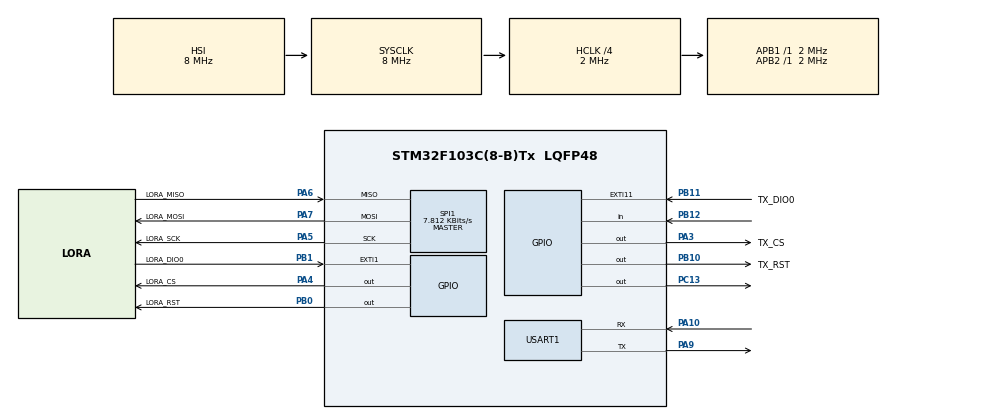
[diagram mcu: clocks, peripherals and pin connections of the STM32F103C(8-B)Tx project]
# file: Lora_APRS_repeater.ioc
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ADC1.Channel-1\#ChannelRegularConversion=ADC_CHANNEL_VREFINT
ADC1.EnableAnalogWatchDog=false
ADC1.NbrOfConversion=1
ADC1.NbrOfConversionFlag=1
ADC1.Rank-1\#ChannelRegularConversion=1
ADC1.SamplingTime-1\#ChannelRegularConversion=ADC_SAMPLETIME_239CYCLES_5
ADC1.master=1
IWDG.Prescaler=IWDG_PRESCALER_64
IWDG.Reload=2500
Mcu.Family=STM32F1
Mcu.Name=STM32F103C(8-B)Tx
Mcu.Package=LQFP48
NVIC.EXTI1_IRQn=true\:5\:0\:true\:false\:true\:true\:true\:true
NVIC.EXTI15_10_IRQn=true\:5\:0\:true\:false\:true\:true\:true\:true
NVIC.PriorityGroup=NVIC_PRIORITYGROUP_4
PA10.Mode=Asynchronous
PA10.Signal=USART1_RX
PA3.GPIO_Label=TX_CS
PA3.GPIO_Speed=GPIO_SPEED_FREQ_HIGH
PA3.PinState=GPIO_PIN_SET
PA3.Signal=GPIO_Output
PA4.GPIO_Label=LORA_CS
PA4.GPIO_PuPd=GPIO_NOPULL
PA4.GPIO_Speed=GPIO_SPEED_FREQ_HIGH
PA4.PinState=GPIO_PIN_SET
PA4.Signal=GPIO_Output
PA5.GPIO_Label=LORA_SCK
PA5.Mode=Full_Duplex_Master
PA5.Signal=SPI1_SCK
PA6.GPIO_Label=LORA_MISO
PA6.Mode=Full_Duplex_Master
PA6.Signal=SPI1_MISO
PA7.GPIO_Label=LORA_MOSI
PA7.Mode=Full_Duplex_Master
PA7.Signal=SPI1_MOSI
PA9.Mode=Asynchronous
PA9.Signal=USART1_TX
PB0.GPIO_Label=LORA_RST
PB0.PinState=GPIO_PIN_SET
PB0.Signal=GPIO_Output
PB1.GPIO_Label=LORA_DIO0
PB1.GPIO_ModeDefaultEXTI=GPIO_MODE_IT_RISING
PB1.Signal=GPXTI1
PB10.GPIO_Label=TX_RST
PB10.PinState=GPIO_PIN_SET
PB10.Signal=GPIO_Output
PB11.GPIO_Label=TX_DIO0
PB11.Signal=GPXTI11
PB12.GPIO_PuPd=GPIO_PULLUP
PB12.Signal=GPIO_Input
PC13-TAMPER-RTC.Signal=GPIO_Output
ProjectManager.HeapSize=0x200
ProjectManager.StackSize=0x400
ProjectManager.TargetToolchain=STM32CubeIDE
RCC.AHBCLKDivider=RCC_SYSCLK_DIV4
RCC.AHBFreq_Value=2000000
RCC.APB1Freq_Value=2000000
RCC.APB1TimFreq_Value=2000000
RCC.APB2Freq_Value=2000000
RCC.APB2TimFreq_Value=2000000
RCC.HCLKFreq_Value=2000000
RCC.SYSCLKFreq_VALUE=8000000
RCC.USBFreq_Value=8000000
RTC.Format=RTC_FORMAT_BIN
RTC.OutPut=RTC_OUTPUTSOURCE_NONE
SPI1.BaudRatePrescaler=SPI_BAUDRATEPRESCALER_256
SPI1.CalculateBaudRate=7.812 KBits/s
SPI1.Direction=SPI_DIRECTION_2LINES
SPI1.Mode=SPI_MODE_MASTER
SPI1.VirtualType=VM_MASTER
USART1.VirtualMode=VM_ASYNC
VP_ADC1_Vref_Input.Mode=IN-Vrefint
VP_IWDG_VS_IWDG.Mode=IWDG_Activate
VP_RTC_No_RTC_Output.Mode=RTC_OUT_NO
VP_RTC_VS_RTC_Activate.Mode=RTC_Enabled
VP_SYS_VS_ND.Mode=No_Debug
board=custom

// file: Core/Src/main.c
/* USER CODE BEGIN Header */
/**
  ******************************************************************************
  * @file           : main.c
  * @brief          : Main program body
  ******************************************************************************
  * @attention
  *
  * Copyright (c) 2026 STMicroelectronics.
  * All rights reserved.
  *
  * This software is licensed under terms that can be found in the LICENSE file
  * in the root directory of this software component.
  * If no LICENSE file comes with this software, it is provided AS-IS.
  *
  ******************************************************************************
  */
/* USER CODE END Header */
#include "main.h"

/* USER CODE BEGIN Includes */
#include <stdio.h>
#include <string.h>
#include <stdarg.h>
#include <stdint.h>
/* USER CODE END Includes */

ADC_HandleTypeDef hadc1;

IWDG_HandleTypeDef hiwdg;

RTC_HandleTypeDef hrtc;

SPI_HandleTypeDef hspi1;

UART_HandleTypeDef huart1;

/* USER CODE BEGIN PV */
// --- Hardware configuration ---
// RX Module (RFM96) - SPI1
#define RX_CS_PORT    GPIOA
#define RX_CS_PIN     GPIO_PIN_4
#define RX_RST_PORT   GPIOB
#define RX_RST_PIN    GPIO_PIN_0

// TX Module (RFM96) - SPI1
#define TX_CS_PORT    GPIOA
#define TX_CS_PIN     GPIO_PIN_3
#define TX_RST_PORT   GPIOB
#define TX_RST_PIN    GPIO_PIN_10

// Debug & LED
#define DEBUG_PIN_PORT GPIOB
#define DEBUG_PIN      GPIO_PIN_12
#define LED_PORT       GPIOC
#define LED_PIN        GPIO_PIN_13

// --- LORA Parameters---
#define LORA_RX_FREQ    434855000
#define LORA_TX_FREQ    434955000

#define LORA_RX_SF      9
#define LORA_RX_BW_IDX  7         		// 125 kHz (7 = 125 kHz)
#define LORA_RX_CR      3         		// 4/7
#define LORA_RX_POWER   17        		// Full power (17 dBm)
//#define LORA_RX_POWER   20       		// +20 dBm (100 mW) - High Power PA_DAC

#define LORA_TX_SF      9
#define LORA_TX_BW_IDX  7         		// 125 kHz (7 = 125 kHz)
#define LORA_TX_CR      3         		// 4/7
#define LORA_TX_POWER   10        		// ~50% of power (~10 dBm)

#define TELEMETRY_INTERVAL 3600000 		// 1h
#define APRS_CALLSIGN   "SP7FM-1"
#define APRS_COORDS     "!5144.22N/01934.44E"

// --- SYSTEM ---
#define QUEUE_SIZE 5
#define MAX_PKT_LEN 256

typedef struct {
    uint8_t data[MAX_PKT_LEN];
    uint8_t len;
    uint8_t tx_counter;
} LoRaPacket;

uint16_t tx_reset_counter = 0;
uint32_t lastRebootTick = 0; 	// last restart/start time
uint8_t reset_time = 6;     	// how often reboot, in h

LoRaPacket txQueue[QUEUE_SIZE];
uint8_t queueHead = 0;
uint8_t queueTail = 0;

uint32_t lastTelemetryTime = 0;
volatile uint8_t packetReceivedFlag = 0;
volatile uint8_t txPacketReceivedFlag = 0;

typedef struct {
    GPIO_TypeDef* CS_Port;
    uint16_t      CS_Pin;
    GPIO_TypeDef* RST_Port;
    uint16_t      RST_Pin;
    uint32_t      Frequency;
    uint8_t       SpreadingFactor;
    uint8_t       BandwidthIdx;
    uint8_t       CodingRate;
    uint8_t       Power;
} LoRa_Module;

LoRa_Module loraRX = { RX_CS_PORT, RX_CS_PIN, RX_RST_PORT, RX_RST_PIN, LORA_RX_FREQ, LORA_RX_SF, LORA_RX_BW_IDX, LORA_RX_CR, LORA_RX_POWER };
LoRa_Module loraTX = { TX_CS_PORT, TX_CS_PIN, TX_RST_PORT, TX_RST_PIN, LORA_TX_FREQ, LORA_TX_SF, LORA_TX_BW_IDX, LORA_TX_CR, LORA_TX_POWER };

/* USER CODE END PV */

void SystemClock_Config(void);
static void MX_GPIO_Init(void);
static void MX_SPI1_Init(void);
static void MX_USART1_UART_Init(void);
static void MX_ADC1_Init(void);
static void MX_IWDG_Init(void);
static void MX_RTC_Init(void);
/* USER CODE BEGIN PFP */
void LoRa_Init(LoRa_Module* mod);
void LoRa_SetMode(LoRa_Module* mod, uint8_t mode);
uint8_t LoRa_Send(LoRa_Module* mod, uint8_t* data, uint8_t len);
uint8_t LoRa_Receive(LoRa_Module* mod, uint8_t* buffer);
void Queue_Push(uint8_t* data, uint8_t len, uint8_t tx_counter);
int Queue_Pop(uint8_t* buffer, uint8_t* out_tx_counter);
void SendTelemetry(void);
void DebugPrint(const char *format, ...);
float GetInternalVoltage(void);
/* USER CODE END PFP */

/* USER CODE BEGIN 0 */

// SX1278 registry
#define REG_FIFO 0x00
#define REG_OP_MODE 0x01
#define REG_FRF_MSB 0x06
#define REG_FRF_MID 0x07
#define REG_FRF_LSB 0x08
#define REG_PA_CONFIG 0x09
#define REG_LNA 0x0C
#define REG_FIFO_ADDR_PTR 0x0D
#define REG_FIFO_TX_BASE_ADDR 0x0E
#define REG_FIFO_RX_BASE_ADDR 0x0F
#define REG_FIFO_RX_CURRENT_ADDR 0x10
#define REG_IRQ_FLAGS 0x12
#define REG_RX_NB_BYTES 0x13
#define REG_MODEM_CONFIG_1 0x1D
#define REG_MODEM_CONFIG_2 0x1E
#define REG_DIO_MAPPING_1 0x40

// Operating mode
#define MODE_LONG_RANGE_MODE 0x80
#define MODE_SLEEP 0x00
#define MODE_STDBY 0x01
#define MODE_TX 0x03
#define MODE_RX_CONTINUOUS 0x05

uint8_t LoRa_ReadReg(LoRa_Module* mod, uint8_t addr) {
    uint8_t txByte = addr & 0x7F;
    uint8_t rxByte = 0;
    HAL_GPIO_WritePin(mod->CS_Port, mod->CS_Pin, GPIO_PIN_RESET);
    HAL_SPI_Transmit(&hspi1, &txByte, 1, 100);
    HAL_SPI_Receive(&hspi1, &rxByte, 1, 100);
    HAL_GPIO_WritePin(mod->CS_Port, mod->CS_Pin, GPIO_PIN_SET);
    return rxByte;
}

void LoRa_WriteReg(LoRa_Module* mod, uint8_t addr, uint8_t val) {
    uint8_t data[2] = { addr | 0x80, val };
    HAL_GPIO_WritePin(mod->CS_Port, mod->CS_Pin, GPIO_PIN_RESET);
    HAL_SPI_Transmit(&hspi1, data, 2, 100);
    HAL_GPIO_WritePin(mod->CS_Port, mod->CS_Pin, GPIO_PIN_SET);
}

void LoRa_Init(LoRa_Module* mod) {
    // 0. Check if CS is high before start
    HAL_GPIO_WritePin(mod->CS_Port, mod->CS_Pin, GPIO_PIN_SET);

    // 1. Hardware Reset
    HAL_GPIO_WritePin(mod->RST_Port, mod->RST_Pin, GPIO_PIN_RESET);
    HAL_Delay(15);
    HAL_GPIO_WritePin(mod->RST_Port, mod->RST_Pin, GPIO_PIN_SET);
    HAL_Delay(15);

    // 2. Sleep mode, enable LongRangeMode registry
    LoRa_SetMode(mod, MODE_SLEEP);
    LoRa_WriteReg(mod, REG_OP_MODE, MODE_LONG_RANGE_MODE | MODE_SLEEP);
    HAL_Delay(5);

    // 3. frequency configuration (FRF)
    uint64_t frf = ((uint64_t)mod->Frequency << 19) / 32000000;
    LoRa_WriteReg(mod, REG_FRF_MSB, (uint8_t)(frf >> 16));
    LoRa_WriteReg(mod, REG_FRF_MID, (uint8_t)(frf >> 8));
    LoRa_WriteReg(mod, REG_FRF_LSB, (uint8_t)(frf >> 0));

    // 4. Modem config (BW, CR, SF)
    uint8_t config1 = (mod->BandwidthIdx << 4) | (mod->CodingRate << 1);
    LoRa_WriteReg(mod, REG_MODEM_CONFIG_1, config1);

    // SF, CRC ON (0x04)
    LoRa_WriteReg(mod, REG_MODEM_CONFIG_2, (mod->SpreadingFactor << 4) | 0x04);

    // 5.Power and gain config (LNA)
    // Set LNA Gain (Max gain, Boost on) and PA_CONFIG i OCP for both modules,
    // to enable 2-way communication (RX and TX).
    LoRa_WriteReg(mod, REG_LNA, 0x23);
    if (mod->Power >= 20) {
        // High Power +20 dBm (100 mW)
        LoRa_WriteReg(mod, 0x0B, 0x3B);          // OCP set to 150 mA (wymagane przy +20 dBm)
        LoRa_WriteReg(mod, 0x4D, 0x87);          // RegPaDac: Enable +20 dBm mode
        LoRa_WriteReg(mod, REG_PA_CONFIG, 0x8F); // PA_BOOST pin, max output power (15 + 5 dBm = 20 dBm)
    } else {
        // Standard mode (+2 dBm to +17 dBm)
        LoRa_WriteReg(mod, 0x0B, 0x2B);          // OCP set to 100 mA
        LoRa_WriteReg(mod, 0x4D, 0x84);          // RegPaDac: Normal/Default mode

        uint8_t paPower = (mod->Power < 2) ? 0 : (mod->Power - 2);
        LoRa_WriteReg(mod, REG_PA_CONFIG, 0x80 | paPower);
    }

    // 6. FIFO config
    LoRa_WriteReg(mod, REG_FIFO_TX_BASE_ADDR, 0);
    LoRa_WriteReg(mod, REG_FIFO_RX_BASE_ADDR, 0);

    // 7. Standby mode
    LoRa_SetMode(mod, MODE_STDBY);
    HAL_Delay(5);

    uint8_t ver = LoRa_ReadReg(mod, 0x42);
    DebugPrint("LORA: Init CS Pin %d (Ver: 0x%02X)\r\n", mod->CS_Pin, ver);
}

void LoRa_SetMode(LoRa_Module* mod, uint8_t mode) {
    LoRa_WriteReg(mod, REG_OP_MODE, MODE_LONG_RANGE_MODE | mode);
}

uint8_t LoRa_Send(LoRa_Module* mod, uint8_t* data, uint8_t len) {
    // 1. Wake radio from SLEEP to STDBY
    LoRa_SetMode(mod, MODE_STDBY);

    // !!! IMPORTANT: We allow time for the oscillator to stabilize (Warm-up).
    // Without this, writing to the FIFO may fail immediately after waking up.
    HAL_Delay(2);

    // 2. fill the buffer
    LoRa_WriteReg(mod, REG_FIFO_ADDR_PTR, 0);
    for(int i=0; i<len; i++) {
        LoRa_WriteReg(mod, REG_FIFO, data[i]);
    }

    // 3. start transmitting
    LoRa_WriteReg(mod, 0x22, len);
    LoRa_SetMode(mod, MODE_TX);

    // 4. Wait for TX finish
    uint32_t start = HAL_GetTick();
    uint8_t tx_success = 0;

    while(HAL_GetTick() - start < 2000) { // Timeout 2 sec.
    	if(LoRa_ReadReg(mod, REG_IRQ_FLAGS) & 0x08) {
    		tx_success = 1; // TxDone!
    		break;
		}
	}

    // 5. Clear flags
    LoRa_WriteReg(mod, REG_IRQ_FLAGS, 0xFF);

    // 6. Change mode STDBY to SLEEP, energy savings
    LoRa_SetMode(mod, MODE_SLEEP);

    return tx_success;
}

uint8_t LoRa_Receive(LoRa_Module* mod, uint8_t* buffer) {
    uint8_t irq = LoRa_ReadReg(mod, REG_IRQ_FLAGS);
    if(irq & 0x40) { // RxDone
        uint8_t len = 0;
        if(!(irq & 0x20)) { // CRC OK
            len = LoRa_ReadReg(mod, REG_RX_NB_BYTES);
            uint8_t currentAddr = LoRa_ReadReg(mod, REG_FIFO_RX_CURRENT_ADDR);
            LoRa_WriteReg(mod, REG_FIFO_ADDR_PTR, currentAddr);
            for(int i=0; i<len; i++) {
                buffer[i] = LoRa_ReadReg(mod, REG_FIFO);
            }
        }
        LoRa_WriteReg(mod, REG_IRQ_FLAGS, 0xFF);
        return len;
    }
    return 0;
}

void DebugPrint(const char *format, ...) {
    // Debug mode, PB12
    if(HAL_GPIO_ReadPin(DEBUG_PIN_PORT, DEBUG_PIN) == GPIO_PIN_RESET) {
        char buffer[128];
        va_list args;
        va_start(args, format);
        vsnprintf(buffer, sizeof(buffer), format, args);
        va_end(args);
        HAL_UART_Transmit(&huart1, (uint8_t*)buffer, strlen(buffer), 100);
    }
}

void Queue_Push(uint8_t* data, uint8_t len, uint8_t tx_counter) {
    uint8_t nextHead = (queueHead + 1) % QUEUE_SIZE;
    if(nextHead != queueTail) {
        memcpy(txQueue[queueHead].data, data, len);
        txQueue[queueHead].len = len;
        txQueue[queueHead].tx_counter = tx_counter;
        queueHead = nextHead;
        DebugPrint("QUEUE: Package added (%d B)\r\n", len);
    } else {
        DebugPrint("QUEUE: FULL!\r\n");
    }
}

int Queue_Pop(uint8_t* buffer, uint8_t* out_tx_counter) {
    if(queueHead == queueTail) return 0;

    int len = txQueue[queueTail].len;
    memcpy(buffer, txQueue[queueTail].data, len);

    if(out_tx_counter != NULL) {
        *out_tx_counter = txQueue[queueTail].tx_counter;
    }

    queueTail = (queueTail + 1) % QUEUE_SIZE;
    return len;
}

float GetInternalVoltage(void) {
    HAL_ADC_Start(&hadc1);
    if (HAL_ADC_PollForConversion(&hadc1, 100) == HAL_OK) {
        uint32_t adcVal = HAL_ADC_GetValue(&hadc1);
        if(adcVal == 0) return 0.0;
        // VREFINT usually is 1.20V
        return (1.20f * 4095.0f) / (float)adcVal;
    }
    return 0.0;
}

void SendTelemetry(void) {
    char packet[200];
    float voltage = GetInternalVoltage();

    // LoRa APRS frame format:
    // 1. Head LoRa: < (0x3C), 0xFF, 0x01
    // 2. Head AX.25: Źródło>Cel,Ścieżka:
    // 3. APRS Data: !Lat/Lon#Comment
    // 4. TX reset counter
    sprintf(packet, "\x3c\xff\x01%s>APRS,WIDE1-1:%s#%s BAT:%.2fV R_CNT:%u", APRS_CALLSIGN, APRS_COORDS, APRS_CALLSIGN, voltage, tx_reset_counter);

    DebugPrint("TELEMETRY: %s\r\n", packet + 3); // +3 for better output codding
    Queue_Push((uint8_t*)packet, strlen(packet), 1);
}

// Interruption EXTI (RX DIO0 - PB1 and TX DIO0 - PB11)
void HAL_GPIO_EXTI_Callback(uint16_t GPIO_Pin) {
    if(GPIO_Pin == LORA_DIO0_Pin) {
        packetReceivedFlag = 1;
    } else if(GPIO_Pin == TX_DIO0_Pin) {
        txPacketReceivedFlag = 1;
    }
}

// Check if radio is alvie
uint8_t LoRa_IsAlive(LoRa_Module* mod) {
    // Testing version registry, expected value 0x12 for SX127x
    uint8_t version = LoRa_ReadReg(mod, 0x42);
    uint8_t mode = LoRa_ReadReg(mod, 0x01);

    if (version == 0x12 && mode != 0xFF) {
        return 1; // Radio is alive
    }
    return 0; // Radio not responding or SPI bus hang
}

void Update_Reset_Counter(void) {
    // 1. PWR and registry BKP up
    __HAL_RCC_PWR_CLK_ENABLE();
    __HAL_RCC_BKP_CLK_ENABLE();
    HAL_PWR_EnableBkUpAccess();

    // 2. Read 1st registry
    tx_reset_counter = HAL_RTCEx_BKUPRead(&hrtc, RTC_BKP_DR1);

    // 3. If reset by Watchdoga (IWDG), increment counter
    if (__HAL_RCC_GET_FLAG(RCC_FLAG_IWDGRST)) {
        tx_reset_counter++;
        HAL_RTCEx_BKUPWrite(&hrtc, RTC_BKP_DR1, tx_reset_counter);
    }

    // 4. Reset flags
    __HAL_RCC_CLEAR_RESET_FLAGS();
}

/* USER CODE END 0 */

int main(void)
{

  /* MCU Configuration--------------------------------------------------------*/

  /* Reset of all peripherals, Initializes the Flash interface and the Systick. */
  HAL_Init();

  /* Configure the system clock */
  SystemClock_Config();

  /* Initialize all configured peripherals */
  MX_GPIO_Init();
  MX_SPI1_Init();
  MX_USART1_UART_Init();
  MX_ADC1_Init();
  MX_IWDG_Init();
  MX_RTC_Init();
  /* USER CODE BEGIN 2 */

  DebugPrint("SYS: Booting...\r\n");

  // Init RX (434.855 MHz)
  LoRa_Init(&loraRX);
  // Map DIO0 for RxDone (00)
  LoRa_WriteReg(&loraRX, REG_DIO_MAPPING_1, 0x00);
  LoRa_SetMode(&loraRX, MODE_RX_CONTINUOUS);
  DebugPrint("SYS: RX Init OK\r\n");

  // Init TX (434.955 MHz)
  LoRa_Init(&loraTX);
  LoRa_SetMode(&loraTX, MODE_SLEEP);
  DebugPrint("SYS: TX Init OK (Sleeping)\r\n");

  // Start led blinking
  // LED ON (PC13 Low), delay, LED OFF (PC13 High)
  HAL_GPIO_WritePin(LED_PORT, LED_PIN, GPIO_PIN_RESET);
  HAL_Delay(500);
  HAL_GPIO_WritePin(LED_PORT, LED_PIN, GPIO_PIN_SET);

  // Send 1st telemetry
  SendTelemetry();
  lastTelemetryTime = HAL_GetTick();

  /* USER CODE END 2 */

  /* Infinite loop */
  /* USER CODE BEGIN WHILE */
  while (1)
  {
	  // 1 - Testy wstępne

	  // A. Planing reset base on 'reset_time' in hours
	  if ((reset_time != 0) && (HAL_GetTick() - lastRebootTick > (reset_time * 60 * 60 * 1000))) {
	      DebugPrint("SYS: Scheduled %d hour reboot...\r\n", reset_time);
	      HAL_Delay(100);
	      NVIC_SystemReset();
	  }

	  // B. Check radios (IsAlive)
	  uint8_t rxLive = (LoRa_ReadReg(&loraRX, 0x42) == 0x12);
	  uint8_t txLive = (LoRa_ReadReg(&loraTX, 0x42) == 0x12);

	  if (rxLive && txLive) {
	      // Both radios are working - (Watchdog 4s)
	      HAL_IWDG_Refresh(&hiwdg);
	  }
	  else {
	      // Something is wrong, trying reset
	      if (!txLive) {
	          tx_reset_counter++;
	          HAL_RTCEx_BKUPWrite(&hrtc, RTC_BKP_DR1, tx_reset_counter);
	          DebugPrint("SYS: TX hang detected! Resetting TX radio...\r\n");

	          HAL_GPIO_WritePin(TX_RST_PORT, TX_RST_PIN, GPIO_PIN_RESET);
	          HAL_Delay(15);
	          HAL_GPIO_WritePin(TX_RST_PORT, TX_RST_PIN, GPIO_PIN_SET);
	          HAL_Delay(15);

	          LoRa_Init(&loraTX);
	          LoRa_SetMode(&loraTX, MODE_SLEEP);
	      }

	      if (!rxLive) {
	          uint8_t rxVal = LoRa_ReadReg(&loraRX, 0x42);
	          DebugPrint("SYS: RX hang detected! (Reg 0x42 = 0x%02X, exp 0x12) Resetting RX radio...\r\n", rxVal);

	          HAL_GPIO_WritePin(RX_RST_PORT, RX_RST_PIN, GPIO_PIN_RESET);
	          HAL_Delay(15);
	          HAL_GPIO_WritePin(RX_RST_PORT, RX_RST_PIN, GPIO_PIN_SET);
	          HAL_Delay(15);

	          LoRa_Init(&loraRX);
	          // RX back to listen
	          LoRa_SetMode(&loraRX, 0x05); // MODE_RX_CONTINUOUS
	      }

	      // Last chance: if radio is still not working let watchdog know, prevent to reset MCU
	      if ((LoRa_ReadReg(&loraRX, 0x42) == 0x12) && (LoRa_ReadReg(&loraTX, 0x42) == 0x12)) {
	          HAL_IWDG_Refresh(&hiwdg);
	          DebugPrint("SYS: Radios recovered. System continues.\r\n");
	      }
	  }
	  /* --- End security section --- */

	// 2. Reciving
    if(packetReceivedFlag) {
		packetReceivedFlag = 0;
		uint8_t rxBuffer[MAX_PKT_LEN];
		uint8_t len = LoRa_Receive(&loraRX, rxBuffer);

		if(len > 0) {
			DebugPrint("RX: Recv %d bytes\r\n", len);

			// --- DEBUG ---
			// check debug pin
			if(HAL_GPIO_ReadPin(DEBUG_PIN_PORT, DEBUG_PIN) == GPIO_PIN_RESET) {

				// 1. Show as a text
				char debugMsg[MAX_PKT_LEN + 1];
				int safeLen = (len < MAX_PKT_LEN) ? len : MAX_PKT_LEN;
				memcpy(debugMsg, rxBuffer, safeLen);
				debugMsg[safeLen] = '\0';
				DebugPrint("RX CONTENT (TXT): %s\r\n", debugMsg);

				// 2. show as a HEX
				char hexBuf[10];
				DebugPrint("RX HEX: ");
				for(int i=0; i<safeLen; i++) {
					sprintf(hexBuf, "%02X ", rxBuffer[i]);
					HAL_UART_Transmit(&huart1, (uint8_t*)hexBuf, strlen(hexBuf), 10);
				}
				DebugPrint("\r\n");
			}

            // new package in queue to send
			Queue_Push(rxBuffer, len, 1);
		}

		// Restart RX Continuous
		LoRa_SetMode(&loraRX, MODE_RX_CONTINUOUS);
	}

    // 3. Transmitting
    if(queueHead != queueTail) {
		uint8_t txBuffer[MAX_PKT_LEN];
		uint8_t msg_tx_counter = 1;
		int len = Queue_Pop(txBuffer, &msg_tx_counter);

		if(len > 0) {
			DebugPrint("TX: Preparing to send...\r\n");
			DebugPrint("TX msg. counter: %d\r\n", msg_tx_counter);

			// pin check
			if(HAL_GPIO_ReadPin(DEBUG_PIN_PORT, DEBUG_PIN) == GPIO_PIN_RESET) {
				char debugMsg[MAX_PKT_LEN + 1]; // +1 for last string character

				// Overfill protection
				int safeLen = (len < MAX_PKT_LEN) ? len : MAX_PKT_LEN;

				memcpy(debugMsg, txBuffer, safeLen);
				debugMsg[safeLen] = '\0';

				DebugPrint("APRS CONTENT: %s\r\n", debugMsg);
			}
			// -----------------------------------------------

			// LED ON (PC13 Low)
			HAL_GPIO_WritePin(LED_PORT, LED_PIN, GPIO_PIN_RESET);

			//LoRa_Send(&loraTX, txBuffer, len);
			if (LoRa_Send(&loraTX, txBuffer, len)) {
			    DebugPrint("TX: Success\r\n");

			    // --- Read answer on TX, 10 sec. ---
			    DebugPrint("TX_RX: Switching TX module to RX mode for 10s response window...\r\n");

			    // Prepare TX for receiving: STDBY -> Reset FIFO ptr -> Clear IRQ -> RX_CONTINUOUS
			    LoRa_SetMode(&loraTX, MODE_STDBY);
			    HAL_Delay(2);
			    LoRa_WriteReg(&loraTX, REG_FIFO_ADDR_PTR, 0);
			    LoRa_WriteReg(&loraTX, REG_DIO_MAPPING_1, 0x00); // Map DIO0 on RxDone (00)
			    LoRa_WriteReg(&loraTX, REG_IRQ_FLAGS, 0xFF); // reset old flags
			    txPacketReceivedFlag = 0;
			    LoRa_SetMode(&loraTX, MODE_RX_CONTINUOUS);

			    uint32_t waitStart = HAL_GetTick();
			    uint8_t txReplyReceived = 0;

			    while (HAL_GetTick() - waitStart < 10000) {
			        HAL_IWDG_Refresh(&hiwdg); // refresh watchdog

			        // 1. Check RX for new messages
			        if (packetReceivedFlag) {
			            packetReceivedFlag = 0;
			            uint8_t rxBuf[MAX_PKT_LEN];
			            uint8_t rxLen = LoRa_Receive(&loraRX, rxBuf);
			            if (rxLen > 0) {
			                DebugPrint("RX (during TX_RX wait): Recv %d bytes, queuing...\r\n", rxLen);
			                Queue_Push(rxBuf, rxLen, 1);
			            }
			            LoRa_SetMode(&loraRX, MODE_RX_CONTINUOUS);
			        }

			        // 2. Check for message on TX (interrupt on EXTI15_10 - PB11)
			        uint8_t replyBuffer[MAX_PKT_LEN];
			        uint8_t replyLen = 0;

			        if (txPacketReceivedFlag) {
			            txPacketReceivedFlag = 0;
			            replyLen = LoRa_Receive(&loraTX, replyBuffer);
			        } else {
			            // direct pooling if interruption is not working
			            replyLen = LoRa_Receive(&loraTX, replyBuffer);
			        }

			        if (replyLen > 0) {
			            DebugPrint("TX_RX: Reply received on TX module (%d B)\r\n", replyLen);

			            if (HAL_GPIO_ReadPin(DEBUG_PIN_PORT, DEBUG_PIN) == GPIO_PIN_RESET) {
			                char debugMsg[MAX_PKT_LEN + 1];
			                int safeLen = (replyLen < MAX_PKT_LEN) ? replyLen : MAX_PKT_LEN;
			                memcpy(debugMsg, replyBuffer, safeLen);
			                debugMsg[safeLen] = '\0';
			                DebugPrint("TX_RX REPLY CONTENT: %s\r\n", debugMsg);
			            }

			            // Retransmitting answer on RX
			            DebugPrint("TX_RX: Retransmitting reply via RX module...\r\n");
			            LoRa_Send(&loraRX, replyBuffer, replyLen);
			            LoRa_SetMode(&loraRX, MODE_RX_CONTINUOUS);

			            txReplyReceived = 1;
			            break;
			        }

			        HAL_Delay(5);
			    }

			    if (!txReplyReceived) {
			        DebugPrint("TX_RX: 10s wait window ended, no reply received.\r\n");
			    }

			    // loraTX go sleep
			    LoRa_SetMode(&loraTX, MODE_SLEEP);
			    // -------------------------------------------------------------
			} else {
				if (msg_tx_counter < 3) {
					DebugPrint("TX: FAILED! Re-queuing...\r\n");
					msg_tx_counter++;
					Queue_Push(txBuffer, len, msg_tx_counter);
				} else {
					DebugPrint("TX: FAILED! %d time, forgetting...\r\n", msg_tx_counter);
				}
			}

			// LED OFF (PC13 High)
			HAL_GPIO_WritePin(LED_PORT, LED_PIN, GPIO_PIN_SET);
			DebugPrint("TX: Done.\r\n");
		}
	}

    // 4. Telemetry
    if(HAL_GetTick() - lastTelemetryTime > TELEMETRY_INTERVAL) {
        SendTelemetry();
        lastTelemetryTime = HAL_GetTick();
    }

    // 5. Sleep
    if(queueHead == queueTail && !packetReceivedFlag) {
        // Suspend Tick to avoid waking up every 1ms, but the LoRa EXTI will wake up the MCU.
        // Note: The IWDG is independent, so the MCU will still reset if it sleeps too long.
        // IWDG Reload is set to ~4 seconds, so we need to wake up more often.
        // It's safer not to use SuspendTick on the IWDG without careful calculation.
        // We use regular WFI - SysTick (1ms) or LoRa EXTI wakes us up.
        HAL_PWR_EnterSLEEPMode(PWR_MAINREGULATOR_ON, PWR_SLEEPENTRY_WFI);
    }

    /* USER CODE END WHILE */

  }
}

void SystemClock_Config(void)
{
  RCC_OscInitTypeDef RCC_OscInitStruct = {0};
  RCC_ClkInitTypeDef RCC_ClkInitStruct = {0};
  RCC_PeriphCLKInitTypeDef PeriphClkInit = {0};

  /** Initializes the RCC Oscillators according to the specified parameters
  * in the RCC_OscInitTypeDef structure.
  */
  RCC_OscInitStruct.OscillatorType = RCC_OSCILLATORTYPE_HSI|RCC_OSCILLATORTYPE_LSI;
  RCC_OscInitStruct.HSIState = RCC_HSI_ON;
  RCC_OscInitStruct.HSICalibrationValue = RCC_HSICALIBRATION_DEFAULT;
  RCC_OscInitStruct.LSIState = RCC_LSI_ON;
  RCC_OscInitStruct.PLL.PLLState = RCC_PLL_NONE;
  if (HAL_RCC_OscConfig(&RCC_OscInitStruct) != HAL_OK)
  {
    Error_Handler();
  }

  /** Initializes the CPU, AHB and APB buses clocks
  */
  RCC_ClkInitStruct.ClockType = RCC_CLOCKTYPE_HCLK|RCC_CLOCKTYPE_SYSCLK
                              |RCC_CLOCKTYPE_PCLK1|RCC_CLOCKTYPE_PCLK2;
  RCC_ClkInitStruct.SYSCLKSource = RCC_SYSCLKSOURCE_HSI;
  RCC_ClkInitStruct.AHBCLKDivider = RCC_SYSCLK_DIV4;
  RCC_ClkInitStruct.APB1CLKDivider = RCC_HCLK_DIV1;
  RCC_ClkInitStruct.APB2CLKDivider = RCC_HCLK_DIV1;

  if (HAL_RCC_ClockConfig(&RCC_ClkInitStruct, FLASH_LATENCY_0) != HAL_OK)
  {
    Error_Handler();
  }
  PeriphClkInit.PeriphClockSelection = RCC_PERIPHCLK_RTC|RCC_PERIPHCLK_ADC;
  PeriphClkInit.RTCClockSelection = RCC_RTCCLKSOURCE_LSI;
  PeriphClkInit.AdcClockSelection = RCC_ADCPCLK2_DIV2;
  if (HAL_RCCEx_PeriphCLKConfig(&PeriphClkInit) != HAL_OK)
  {
    Error_Handler();
  }
}

static void MX_ADC1_Init(void)
{

  ADC_ChannelConfTypeDef sConfig = {0};

  /** Common config
  */
  hadc1.Instance = ADC1;
  hadc1.Init.ScanConvMode = ADC_SCAN_DISABLE;
  hadc1.Init.ContinuousConvMode = DISABLE;
  hadc1.Init.DiscontinuousConvMode = DISABLE;
  hadc1.Init.ExternalTrigConv = ADC_SOFTWARE_START;
  hadc1.Init.DataAlign = ADC_DATAALIGN_RIGHT;
  hadc1.Init.NbrOfConversion = 1;
  if (HAL_ADC_Init(&hadc1) != HAL_OK)
  {
    Error_Handler();
  }

  /** Configure Regular Channel
  */
  sConfig.Channel = ADC_CHANNEL_VREFINT;
  sConfig.Rank = ADC_REGULAR_RANK_1;
  sConfig.SamplingTime = ADC_SAMPLETIME_239CYCLES_5;
  if (HAL_ADC_ConfigChannel(&hadc1, &sConfig) != HAL_OK)
  {
    Error_Handler();
  }

}

static void MX_IWDG_Init(void)
{

  hiwdg.Instance = IWDG;
  hiwdg.Init.Prescaler = IWDG_PRESCALER_64;
  hiwdg.Init.Reload = 2500;
  if (HAL_IWDG_Init(&hiwdg) != HAL_OK)
  {
    Error_Handler();
  }

}

static void MX_RTC_Init(void)
{

  RTC_TimeTypeDef sTime = {0};
  RTC_DateTypeDef DateToUpdate = {0};

  /** Initialize RTC Only
  */
  hrtc.Instance = RTC;
  hrtc.Init.AsynchPrediv = RTC_AUTO_1_SECOND;
  hrtc.Init.OutPut = RTC_OUTPUTSOURCE_NONE;
  if (HAL_RTC_Init(&hrtc) != HAL_OK)
  {
    Error_Handler();
  }

  /** Initialize RTC and set the Time and Date
  */
  sTime.Hours = 0;
  sTime.Minutes = 0;
  sTime.Seconds = 0;

  if (HAL_RTC_SetTime(&hrtc, &sTime, RTC_FORMAT_BIN) != HAL_OK)
  {
    Error_Handler();
  }
  DateToUpdate.WeekDay = RTC_WEEKDAY_MONDAY;
  DateToUpdate.Month = RTC_MONTH_JANUARY;
  DateToUpdate.Date = 1;
  DateToUpdate.Year = 0;

  if (HAL_RTC_SetDate(&hrtc, &DateToUpdate, RTC_FORMAT_BIN) != HAL_OK)
  {
    Error_Handler();
  }

}

static void MX_SPI1_Init(void)
{

  /* SPI1 parameter configuration*/
  hspi1.Instance = SPI1;
  hspi1.Init.Mode = SPI_MODE_MASTER;
  hspi1.Init.Direction = SPI_DIRECTION_2LINES;
  hspi1.Init.DataSize = SPI_DATASIZE_8BIT;
  hspi1.Init.CLKPolarity = SPI_POLARITY_LOW;
  hspi1.Init.CLKPhase = SPI_PHASE_1EDGE;
  hspi1.Init.NSS = SPI_NSS_SOFT;
  hspi1.Init.BaudRatePrescaler = SPI_BAUDRATEPRESCALER_256;
  hspi1.Init.FirstBit = SPI_FIRSTBIT_MSB;
  hspi1.Init.TIMode = SPI_TIMODE_DISABLE;
  hspi1.Init.CRCCalculation = SPI_CRCCALCULATION_DISABLE;
  hspi1.Init.CRCPolynomial = 10;
  if (HAL_SPI_Init(&hspi1) != HAL_OK)
  {
    Error_Handler();
  }

}

static void MX_USART1_UART_Init(void)
{

  huart1.Instance = USART1;
  huart1.Init.BaudRate = 115200;
  huart1.Init.WordLength = UART_WORDLENGTH_8B;
  huart1.Init.StopBits = UART_STOPBITS_1;
  huart1.Init.Parity = UART_PARITY_NONE;
  huart1.Init.Mode = UART_MODE_TX_RX;
  huart1.Init.HwFlowCtl = UART_HWCONTROL_NONE;
  huart1.Init.OverSampling = UART_OVERSAMPLING_16;
  if (HAL_UART_Init(&huart1) != HAL_OK)
  {
    Error_Handler();
  }

}

static void MX_GPIO_Init(void)
{
  GPIO_InitTypeDef GPIO_InitStruct = {0};

  /* GPIO Ports Clock Enable */
  __HAL_RCC_GPIOC_CLK_ENABLE();
  __HAL_RCC_GPIOA_CLK_ENABLE();
  __HAL_RCC_GPIOB_CLK_ENABLE();

  /*Configure GPIO pin Output Level */
  HAL_GPIO_WritePin(GPIOC, GPIO_PIN_13, GPIO_PIN_RESET);

  /*Configure GPIO pin Output Level */
  HAL_GPIO_WritePin(GPIOA, TX_CS_Pin|LORA_CS_Pin, GPIO_PIN_SET);

  /*Configure GPIO pin Output Level */
  HAL_GPIO_WritePin(GPIOB, LORA_RST_Pin|TX_RST_Pin, GPIO_PIN_SET);

  /*Configure GPIO pin : PC13 */
  GPIO_InitStruct.Pin = GPIO_PIN_13;
  GPIO_InitStruct.Mode = GPIO_MODE_OUTPUT_PP;
  GPIO_InitStruct.Pull = GPIO_NOPULL;
  GPIO_InitStruct.Speed = GPIO_SPEED_FREQ_LOW;
  HAL_GPIO_Init(GPIOC, &GPIO_InitStruct);

  /*Configure GPIO pins : TX_CS_Pin LORA_CS_Pin */
  GPIO_InitStruct.Pin = TX_CS_Pin|LORA_CS_Pin;
  GPIO_InitStruct.Mode = GPIO_MODE_OUTPUT_PP;
  GPIO_InitStruct.Pull = GPIO_NOPULL;
  GPIO_InitStruct.Speed = GPIO_SPEED_FREQ_HIGH;
  HAL_GPIO_Init(GPIOA, &GPIO_InitStruct);

  /*Configure GPIO pins : LORA_RST_Pin TX_RST_Pin */
  GPIO_InitStruct.Pin = LORA_RST_Pin|TX_RST_Pin;
  GPIO_InitStruct.Mode = GPIO_MODE_OUTPUT_PP;
  GPIO_InitStruct.Pull = GPIO_NOPULL;
  GPIO_InitStruct.Speed = GPIO_SPEED_FREQ_LOW;
  HAL_GPIO_Init(GPIOB, &GPIO_InitStruct);

  /*Configure GPIO pins : LORA_DIO0_Pin TX_DIO0_Pin */
  GPIO_InitStruct.Pin = LORA_DIO0_Pin|TX_DIO0_Pin;
  GPIO_InitStruct.Mode = GPIO_MODE_IT_RISING;
  GPIO_InitStruct.Pull = GPIO_NOPULL;
  HAL_GPIO_Init(GPIOB, &GPIO_InitStruct);

  /*Configure GPIO pin : PB12 */
  GPIO_InitStruct.Pin = GPIO_PIN_12;
  GPIO_InitStruct.Mode = GPIO_MODE_INPUT;
  GPIO_InitStruct.Pull = GPIO_PULLUP;
  HAL_GPIO_Init(GPIOB, &GPIO_InitStruct);

  /* EXTI interrupt init*/
  HAL_NVIC_SetPriority(EXTI1_IRQn, 5, 0);
  HAL_NVIC_EnableIRQ(EXTI1_IRQn);

  /* USER CODE BEGIN MX_GPIO_Init_2 */
  HAL_NVIC_SetPriority(EXTI15_10_IRQn, 5, 0);
  HAL_NVIC_EnableIRQ(EXTI15_10_IRQn);
  /* USER CODE END MX_GPIO_Init_2 */
}

void Error_Handler(void)
{
  __disable_irq();
  while (1)
  {
  }
}
